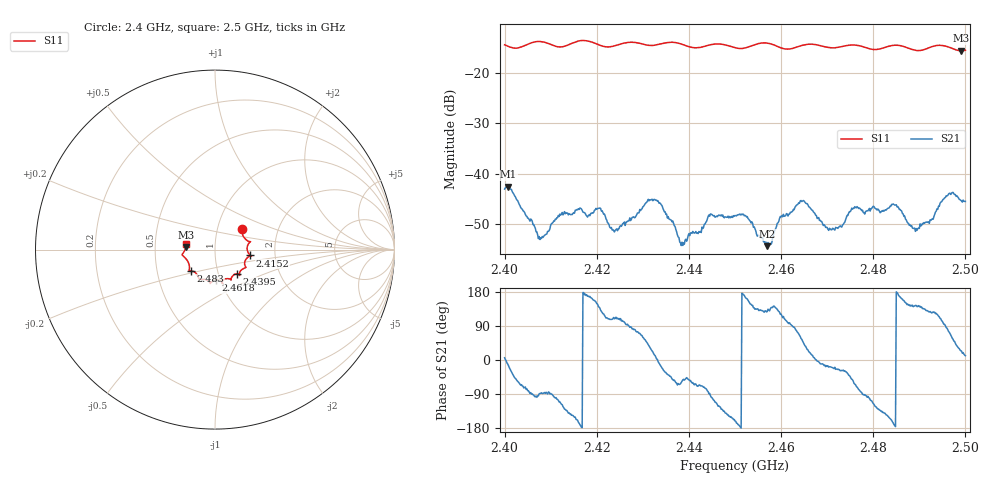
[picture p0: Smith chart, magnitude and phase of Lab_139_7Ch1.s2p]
# Hz S RI R 50
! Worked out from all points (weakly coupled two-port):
!   601 points, 2.4 GHz to 2.5 GHz, reference 50 ohm
!   highest |S21| = -42.55 dB at 2.4008 GHz (marker M1); lowest = -54.3 dB at 2.457 GHz (marker M2)
!   lowest |S11| = -15.7 dB at 2.499 GHz (marker M3), VSWR 1.39, Z = 35.9 + j1.1 ohm
!   |S11| at or under -10 dB: start of sweep to end of sweep
!   S12 and S22 are empty: the file has one direction only
!   S11 on the Smith chart (normalised r, x): 2.4 GHz: 1.31, +0.31; 2.4152 GHz: 1.48, -0.10; 2.4395 GHz: 1.23, -0.34; 2.4618 GHz: 0.95, -0.33; 2.483 GHz: 0.74, -0.18; 2.5 GHz: 0.72, +0.05
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2.4e9  0.1497 0.1136  0.00702 0.000721  0 0  0 0
2.400833e9  0.15 0.1014  0.00722 -0.00185  0 0  0 0
2.407833e9  0.1974 0.044  9.03e-05 -0.00232  0 0  0 0
2.415167e9  0.1964 -0.0327  -0.00356 -0.00197  0 0  0 0
2.416667e9  0.2038 -0.0377  -0.00448 -0.000222  0 0  0 0
2.420667e9  0.181 -0.0446  -0.00337 0.00311  0 0  0 0
2.424e9  0.1653 -0.082  -0.000921 0.0026  0 0  0 0
2.433333e9  0.1366 -0.1317  0.00536 -0.000459  0 0  0 0
2.4395e9  0.1237 -0.1353  0.00148 -0.00156  0 0  0 0
2.444667e9  0.0889 -0.166  -0.00027 -0.004  0 0  0 0
2.45e9  0.0697 -0.1619  -0.00365 -0.00126  0 0  0 0
2.457e9  0.0441 -0.1904  -0.00118 0.00152  0 0  0 0
2.461833e9  0.00424 -0.1709  -0.000568 0.00395  0 0  0 0
2.466667e9  -0.0263 -0.1889  0.00426 0.00101  0 0  0 0
2.471167e9  -0.0513 -0.1677  0.00271 -0.000991  0 0  0 0
2.475833e9  -0.0874 -0.1653  0.00215 -0.00401  0 0  0 0
2.483e9  -0.1356 -0.1181  -0.00371 -0.00253  0 0  0 0
2.483333e9  -0.1382 -0.1181  -0.00397 -0.00227  0 0  0 0
2.4895e9  -0.1466 -0.0752  -0.00214 0.00174  0 0  0 0
2.496167e9  -0.1787 -0.0212  0.00104 0.00601  0 0  0 0
2.499e9  -0.1634 0.0149  0.00496 0.00226  0 0  0 0
2.5e9  -0.1631 0.0329  0.00522 0.00104  0 0  0 0
